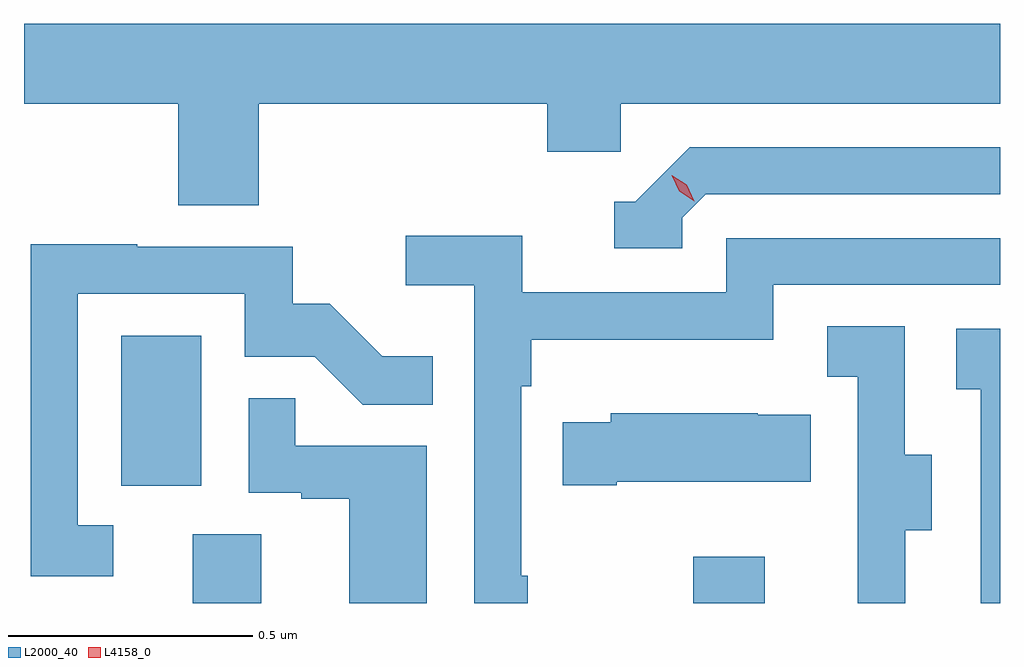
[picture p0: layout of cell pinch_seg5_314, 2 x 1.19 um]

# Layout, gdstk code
import gdstk
lib = gdstk.Library(unit=1e-6, precision=1e-09)
def R(c, l, rs):  # rectangles x0, y0, x1, y1
    for r in rs: c.add(gdstk.rectangle(r[:2], r[2:], *l))
def P(c, l, *ps):  # polygons
    for p in ps: c.add(gdstk.Polygon(p, *l))
L2000_40 = (2000, 40)
L4158_0 = (4158, 0)

pinch_seg5_314 = lib.new_cell('pinch_seg5_314')
R(pinch_seg5_314, L2000_40, [(912.275,889.037,912.415,889.178), (913.3,889.037,913.447,889.132), (912.128,889.278,912.292,889.585)])
P(pinch_seg5_314, L2000_40, [(912.41,890.06),(913.001,890.06),(913.001,889.962),(913.152,889.962),(913.152,890.06),(913.929,890.06),(913.929,890.224),(911.929,890.224),(911.929,890.06),(912.245,890.06),(912.245,889.852),(912.41,889.852)],
  [(913.278,889.827),(913.326,889.875),(913.929,889.875),(913.929,889.971),(913.293,889.971),(913.182,889.86),(913.139,889.86),(913.139,889.764),(913.278,889.764)],
  [(912.961,889.093),(912.948,889.093),(912.948,889.481),(912.968,889.481),(912.968,889.577),(913.464,889.577),(913.464,889.689),(913.929,889.689),(913.929,889.785),(913.368,889.785),(913.368,889.674),(912.95,889.674),(912.95,889.79),(912.711,889.79),(912.711,889.688),(912.852,889.688),(912.852,889.037),(912.961,889.037)],
  [(912.112,889.197),(912.039,889.197),(912.039,889.671),(912.381,889.671),(912.381,889.542),(912.525,889.542),(912.623,889.444),(912.767,889.444),(912.767,889.543),(912.663,889.543),(912.556,889.65),(912.48,889.65),(912.48,889.767),(912.161,889.767),(912.161,889.772),(911.943,889.772),(911.943,889.092),(912.112,889.092)],
  [(913.735,889.186),(913.789,889.186),(913.789,889.341),(913.734,889.341),(913.734,889.604),(913.575,889.604),(913.575,889.501),(913.638,889.501),(913.638,889.197),(913.637,889.197),(913.637,889.037),(913.735,889.037)],
  [(913.929,889.599),(913.839,889.599),(913.839,889.475),(913.89,889.475),(913.89,889.037),(913.929,889.037)],
  [(912.754,889.359),(912.485,889.359),(912.485,889.457),(912.39,889.457),(912.39,889.263),(912.497,889.263),(912.497,889.251),(912.596,889.251),(912.596,889.037),(912.754,889.037)],
  [(913.144,889.286),(913.541,889.286),(913.541,889.423),(913.433,889.423),(913.433,889.426),(913.131,889.426),(913.131,889.408),(913.033,889.408),(913.033,889.279),(913.144,889.279)])
P(pinch_seg5_314, L4158_0, [(913.302,889.861),(913.272,889.881),(913.256,889.914),(913.256,889.914),(913.256,889.914),(913.287,889.894),(913.302,889.861),(913.302,889.861)])

lib.write_gds('pinch_seg5_314.gds')
